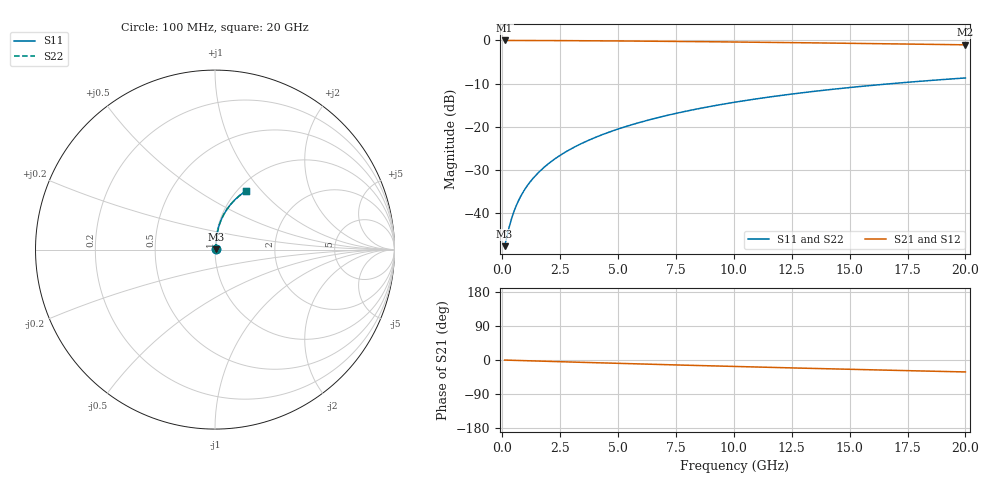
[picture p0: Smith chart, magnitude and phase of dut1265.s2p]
! Touchstone file exported from HFSS 2024.1.0
!  File:  C:/UserFiles/LocalFiles/RDL_TSV_Batchsim/temp_RDL_bottom_1265_1780245992.aedt
!  Generated:  12:49:05 AM Jun  1, 2026
!  Design:  RDL_bottom
!  Project:  temp_RDL_bottom_1265_1780245992
!  Setup:  Setup1
!  Solution:  Sweep
! Variables:
!  dtsv = 10.80580581um
!  hbump = 3um
!  htsv = 92.15um
!  ldown = 353.78um
!  lrdl = 100um
!  p = 40
!  p1 = 59.11um
!  rhole = 1um
!  t = 450um
!  tdown = 2.02um
!  trdl = 3.915915916um
!  wdown = 18.41um
!  wrdl = 20um
# GHz S MA R 50.000000
! Terminal data exported
! Port[1] = RDL1_T1
! Port[2] = RDL1_T2
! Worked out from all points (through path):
!   200 points, 100 MHz to 20 GHz, reference 50 ohm
!   highest |S21| = -0.03 dB at 100 MHz (marker M1); lowest = -1.0 dB at 20 GHz (marker M2)
!   group delay of S21, straight-line fit = 4.37 ps
!   lowest |S11| = -47.6 dB at 100 MHz (marker M3), VSWR 1.01, Z = 50.4 + j0.198 ohm
!   |S11| at or under -10 dB: start of sweep to 16.82 GHz
!   |S22| runs from -47.6 to -8.7 dB; largest |S21 - S12| = 3.4e-15
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0.1  0.00419 28.0  0.9963 -0.2  0.9963 -0.2  0.00419 28.0
! Gamma 0 0 0 0
! Port Impedance 50 0 50 0
0.3  0.006996 56.8  0.9961 -0.6  0.9961 -0.6  0.006996 56.8
0.4  0.008705 63.2  0.996 -0.7  0.996 -0.7  0.008705 63.2
0.5  0.01047 67.4  0.9959 -0.9  0.9959 -0.9  0.01047 67.4
0.6  0.01226 70.3  0.9958 -1.1  0.9958 -1.1  0.01226 70.3
0.7  0.01406 72.4  0.9956 -1.3  0.9956 -1.3  0.01406 72.4
0.9  0.01767 75.3  0.9953 -1.7  0.9953 -1.7  0.01767 75.3
1.2  0.02309 78.0  0.9948 -2.2  0.9948 -2.2  0.02309 78.0
1.4  0.02672 79.2  0.9945 -2.5  0.9945 -2.5  0.02672 79.2
1.7  0.0322 80.5  0.994 -3.1  0.994 -3.1  0.0322 80.5
2.2  0.04139 81.7  0.9929 -4.0  0.9929 -4.0  0.04139 81.7
2.8  0.05255 82.5  0.9914 -5.0  0.9914 -5.0  0.05255 82.5
3.5  0.06573 82.8  0.9892 -6.3  0.9892 -6.3  0.06573 82.8
4.2  0.07905 82.7  0.9867 -7.5  0.9867 -7.5  0.07905 82.7
5  0.09445 82.3  0.9835 -8.9  0.9835 -8.9  0.09445 82.3
5.9  0.1119 81.6  0.9794 -10.4  0.9794 -10.4  0.1119 81.6
6.8  0.1295 80.7  0.9749 -11.9  0.9749 -11.9  0.1295 80.7
8.4  0.1609 78.8  0.9662 -14.5  0.9662 -14.5  0.1609 78.8
10.1  0.194 76.5  0.9561 -17.2  0.9561 -17.2  0.1939 76.5
13.4  0.2561 71.7  0.9347 -22.2  0.9347 -22.2  0.2561 71.7
16.7  0.3142 66.9  0.9115 -27.0  0.9115 -27.0  0.3142 66.9
20  0.3675 62.3  0.8872 -31.5  0.8872 -31.5  0.3675 62.3
